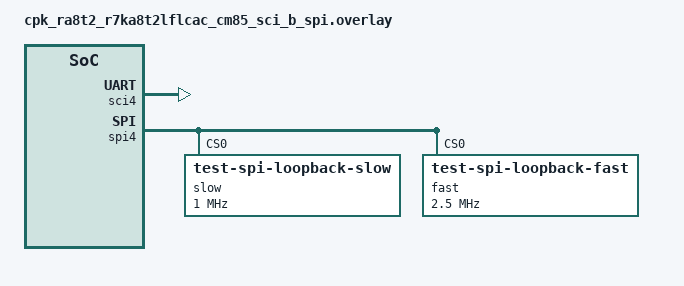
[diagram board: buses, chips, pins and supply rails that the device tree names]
/*
 * SPDX-FileCopyrightText: Copyright (c) 2026 Process Mission
 * SPDX-License-Identifier: Apache-2.0
 */

&sci4 {
	status = "okay";
};

&spi4 {
	status = "okay";

	slow@0 {
		compatible = "test-spi-loopback-slow";
		reg = <0>;
		spi-max-frequency = <1000000>;
	};

	fast@0 {
		compatible = "test-spi-loopback-fast";
		reg = <0>;
		spi-max-frequency = <2500000>;
	};
};
